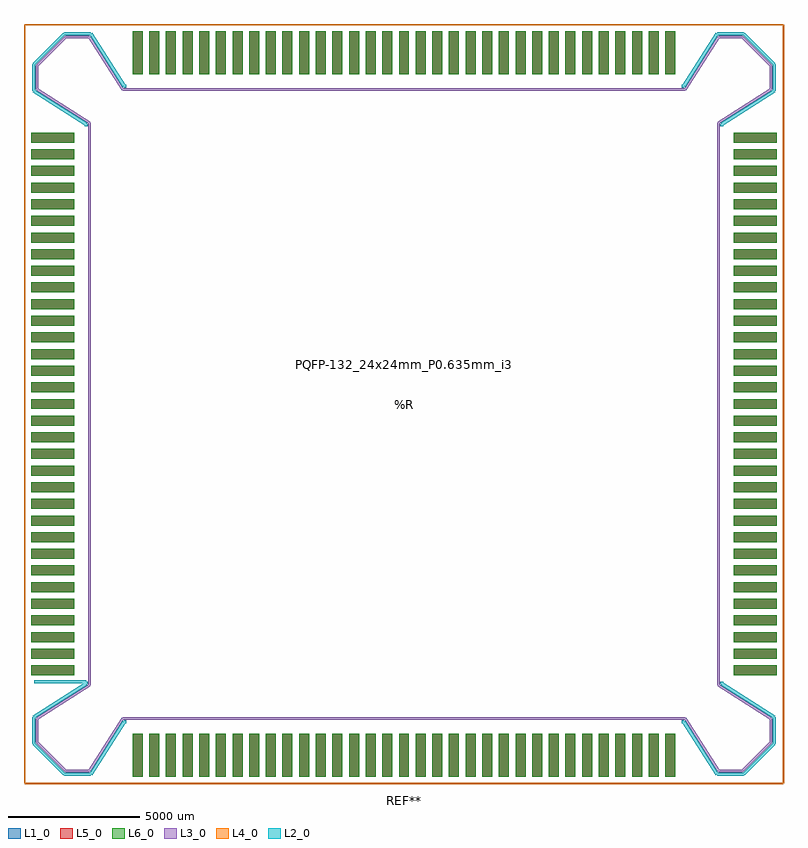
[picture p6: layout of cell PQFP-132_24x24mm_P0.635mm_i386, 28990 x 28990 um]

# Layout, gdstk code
import gdstk
lib = gdstk.Library(unit=1e-6, precision=1e-09)
def R(c, l, rs):  # rectangles x0, y0, x1, y1
    for r in rs: c.add(gdstk.rectangle(r[:2], r[2:], *l))
def A(c, l, x, y, w, h, nx, ny, dx, dy):  # array of equal rectangles
    R(c, l, [(x+i*dx, y+j*dy, x+i*dx+w, y+j*dy+h) for i in range(nx) for j in range(ny)])
L1_0 = (1, 0)
L2_0 = (2, 0)
L3_0 = (3, 0)
L4_0 = (4, 0)
L5_0 = (5, 0)
L6_0 = (6, 0)

pqfp_132_24x24mm_p0_635m = lib.new_cell('PQFP-132_24x24mm_P0.635mm_i386')
A(pqfp_132_24x24mm_p0_635m, L1_0, -10350, -14218, 380, 1636, 33, 2, 635, 26800)
A(pqfp_132_24x24mm_p0_635m, L1_0, -14218, -10350, 1636, 380, 1, 33, 0, 635)
A(pqfp_132_24x24mm_p0_635m, L1_0, 12582, -10350, 1636, 380, 1, 33, 0, 635)
A(pqfp_132_24x24mm_p0_635m, L5_0, -10350, -14218, 380, 1636, 33, 2, 635, 26800)
A(pqfp_132_24x24mm_p0_635m, L5_0, -14218, -10350, 1636, 380, 1, 33, 0, 635)
A(pqfp_132_24x24mm_p0_635m, L5_0, 12582, -10350, 1636, 380, 1, 33, 0, 635)
A(pqfp_132_24x24mm_p0_635m, L6_0, -10350, -14218, 380, 1636, 33, 2, 635, 26800)
A(pqfp_132_24x24mm_p0_635m, L6_0, -14218, -10350, 1636, 380, 1, 33, 0, 635)
A(pqfp_132_24x24mm_p0_635m, L6_0, 12582, -10350, 1636, 380, 1, 33, 0, 635)
pqfp_132_24x24mm_p0_635m.add(gdstk.FlexPath([(14000,-12000),(12000,-10730)], 100, ends="flush", simple_path=True, layer=3, datatype=0))  # L3_0
pqfp_132_24x24mm_p0_635m.add(gdstk.FlexPath([(12000,-14000),(10730,-12000)], 100, ends="flush", simple_path=True, layer=3, datatype=0))  # L3_0
pqfp_132_24x24mm_p0_635m.add(gdstk.FlexPath([(12900,-14000),(12000,-14000)], 100, ends="flush", simple_path=True, layer=3, datatype=0))  # L3_0
pqfp_132_24x24mm_p0_635m.add(gdstk.FlexPath([(14000,-12900),(12900,-14000)], 100, ends="flush", simple_path=True, layer=3, datatype=0))  # L3_0
pqfp_132_24x24mm_p0_635m.add(gdstk.FlexPath([(14000,-12000),(14000,-12900)], 100, ends="flush", simple_path=True, layer=3, datatype=0))  # L3_0
pqfp_132_24x24mm_p0_635m.add(gdstk.FlexPath([(12120,-10670),(12120,-10600)], 120, ends="flush", simple_path=True, layer=2, datatype=0))  # L2_0
pqfp_132_24x24mm_p0_635m.add(gdstk.FlexPath([(10600,-12120),(10670,-12120)], 120, ends="flush", simple_path=True, layer=2, datatype=0))  # L2_0
pqfp_132_24x24mm_p0_635m.add(gdstk.FlexPath([(-14470,-14470),(-14470,14470)], 50, ends="flush", simple_path=True, layer=4, datatype=0))  # L4_0
pqfp_132_24x24mm_p0_635m.add(gdstk.FlexPath([(14470,-14470),(-14470,-14470)], 50, ends="flush", simple_path=True, layer=4, datatype=0))  # L4_0
pqfp_132_24x24mm_p0_635m.add(gdstk.FlexPath([(-10730,-12000),(10730,-12000)], 100, ends="flush", simple_path=True, layer=3, datatype=0))  # L3_0
pqfp_132_24x24mm_p0_635m.add(gdstk.FlexPath([(12000,-10730),(12000,10730)], 100, ends="flush", simple_path=True, layer=3, datatype=0))  # L3_0
pqfp_132_24x24mm_p0_635m.add(gdstk.FlexPath([(10730,12000),(-10730,12000)], 100, ends="flush", simple_path=True, layer=3, datatype=0))  # L3_0
pqfp_132_24x24mm_p0_635m.add(gdstk.FlexPath([(-12000,10730),(-12000,-10730)], 100, ends="flush", simple_path=True, layer=3, datatype=0))  # L3_0
pqfp_132_24x24mm_p0_635m.add(gdstk.FlexPath([(14470,-14470),(14470,14470)], 50, ends="flush", simple_path=True, layer=4, datatype=0))  # L4_0
pqfp_132_24x24mm_p0_635m.add(gdstk.FlexPath([(14470,14470),(-14470,14470)], 50, ends="flush", simple_path=True, layer=4, datatype=0))  # L4_0
pqfp_132_24x24mm_p0_635m.add(gdstk.FlexPath([(-14100,-10600),(-12120,-10600)], 120, ends="flush", simple_path=True, layer=2, datatype=0))  # L2_0
pqfp_132_24x24mm_p0_635m.add(gdstk.FlexPath([(11940,-14120),(12960,-14120)], 120, ends="flush", simple_path=True, layer=2, datatype=0))  # L2_0
pqfp_132_24x24mm_p0_635m.add(gdstk.FlexPath([(14120,-11940),(14120,-12960)], 120, ends="flush", simple_path=True, layer=2, datatype=0))  # L2_0
pqfp_132_24x24mm_p0_635m.add(gdstk.FlexPath([(14120,-12960),(12960,-14120)], 120, ends="flush", simple_path=True, layer=2, datatype=0))  # L2_0
pqfp_132_24x24mm_p0_635m.add(gdstk.FlexPath([(14120,-11940),(12120,-10670)], 120, ends="flush", simple_path=True, layer=2, datatype=0))  # L2_0
pqfp_132_24x24mm_p0_635m.add(gdstk.FlexPath([(10670,-12120),(11940,-14120)], 120, ends="flush", simple_path=True, layer=2, datatype=0))  # L2_0
pqfp_132_24x24mm_p0_635m.add(gdstk.FlexPath([(-10670,-12120),(-11940,-14120)], 120, ends="flush", simple_path=True, layer=2, datatype=0))  # L2_0
pqfp_132_24x24mm_p0_635m.add(gdstk.FlexPath([(-14120,-11940),(-12120,-10670)], 120, ends="flush", simple_path=True, layer=2, datatype=0))  # L2_0
pqfp_132_24x24mm_p0_635m.add(gdstk.FlexPath([(-11940,-14120),(-12960,-14120)], 120, ends="flush", simple_path=True, layer=2, datatype=0))  # L2_0
pqfp_132_24x24mm_p0_635m.add(gdstk.FlexPath([(-14120,-12960),(-12960,-14120)], 120, ends="flush", simple_path=True, layer=2, datatype=0))  # L2_0
pqfp_132_24x24mm_p0_635m.add(gdstk.FlexPath([(-14120,-11940),(-14120,-12960)], 120, ends="flush", simple_path=True, layer=2, datatype=0))  # L2_0
pqfp_132_24x24mm_p0_635m.add(gdstk.FlexPath([(10600,12120),(10670,12120)], 120, ends="flush", simple_path=True, layer=2, datatype=0))  # L2_0
pqfp_132_24x24mm_p0_635m.add(gdstk.FlexPath([(-12120,-10670),(-12120,-10600)], 120, ends="flush", simple_path=True, layer=2, datatype=0))  # L2_0
pqfp_132_24x24mm_p0_635m.add(gdstk.FlexPath([(10670,12120),(11940,14120)], 120, ends="flush", simple_path=True, layer=2, datatype=0))  # L2_0
pqfp_132_24x24mm_p0_635m.add(gdstk.FlexPath([(-10600,-12120),(-10670,-12120)], 120, ends="flush", simple_path=True, layer=2, datatype=0))  # L2_0
pqfp_132_24x24mm_p0_635m.add(gdstk.FlexPath([(11940,14120),(12960,14120)], 120, ends="flush", simple_path=True, layer=2, datatype=0))  # L2_0
pqfp_132_24x24mm_p0_635m.add(gdstk.FlexPath([(14120,12960),(12960,14120)], 120, ends="flush", simple_path=True, layer=2, datatype=0))  # L2_0
pqfp_132_24x24mm_p0_635m.add(gdstk.FlexPath([(14120,11940),(14120,12960)], 120, ends="flush", simple_path=True, layer=2, datatype=0))  # L2_0
pqfp_132_24x24mm_p0_635m.add(gdstk.FlexPath([(14120,11940),(12120,10670)], 120, ends="flush", simple_path=True, layer=2, datatype=0))  # L2_0
pqfp_132_24x24mm_p0_635m.add(gdstk.FlexPath([(12120,10670),(12120,10600)], 120, ends="flush", simple_path=True, layer=2, datatype=0))  # L2_0
pqfp_132_24x24mm_p0_635m.add(gdstk.FlexPath([(-14120,11940),(-12120,10670)], 120, ends="flush", simple_path=True, layer=2, datatype=0))  # L2_0
pqfp_132_24x24mm_p0_635m.add(gdstk.FlexPath([(-12120,10670),(-12120,10600)], 120, ends="flush", simple_path=True, layer=2, datatype=0))  # L2_0
pqfp_132_24x24mm_p0_635m.add(gdstk.FlexPath([(-14120,11940),(-14120,12960)], 120, ends="flush", simple_path=True, layer=2, datatype=0))  # L2_0
pqfp_132_24x24mm_p0_635m.add(gdstk.FlexPath([(-14120,12960),(-12960,14120)], 120, ends="flush", simple_path=True, layer=2, datatype=0))  # L2_0
pqfp_132_24x24mm_p0_635m.add(gdstk.FlexPath([(-11940,14120),(-12960,14120)], 120, ends="flush", simple_path=True, layer=2, datatype=0))  # L2_0
pqfp_132_24x24mm_p0_635m.add(gdstk.FlexPath([(-10670,12120),(-11940,14120)], 120, ends="flush", simple_path=True, layer=2, datatype=0))  # L2_0
pqfp_132_24x24mm_p0_635m.add(gdstk.FlexPath([(-10600,12120),(-10670,12120)], 120, ends="flush", simple_path=True, layer=2, datatype=0))  # L2_0
pqfp_132_24x24mm_p0_635m.add(gdstk.FlexPath([(-12000,-14000),(-10730,-12000)], 100, ends="flush", simple_path=True, layer=3, datatype=0))  # L3_0
pqfp_132_24x24mm_p0_635m.add(gdstk.FlexPath([(-12900,-14000),(-12000,-14000)], 100, ends="flush", simple_path=True, layer=3, datatype=0))  # L3_0
pqfp_132_24x24mm_p0_635m.add(gdstk.FlexPath([(-14000,-12900),(-12900,-14000)], 100, ends="flush", simple_path=True, layer=3, datatype=0))  # L3_0
pqfp_132_24x24mm_p0_635m.add(gdstk.FlexPath([(-14000,-12000),(-14000,-12900)], 100, ends="flush", simple_path=True, layer=3, datatype=0))  # L3_0
pqfp_132_24x24mm_p0_635m.add(gdstk.FlexPath([(-14000,-12000),(-12000,-10730)], 100, ends="flush", simple_path=True, layer=3, datatype=0))  # L3_0
pqfp_132_24x24mm_p0_635m.add(gdstk.FlexPath([(12000,14000),(10730,12000)], 100, ends="flush", simple_path=True, layer=3, datatype=0))  # L3_0
pqfp_132_24x24mm_p0_635m.add(gdstk.FlexPath([(12900,14000),(12000,14000)], 100, ends="flush", simple_path=True, layer=3, datatype=0))  # L3_0
pqfp_132_24x24mm_p0_635m.add(gdstk.FlexPath([(14000,12900),(12900,14000)], 100, ends="flush", simple_path=True, layer=3, datatype=0))  # L3_0
pqfp_132_24x24mm_p0_635m.add(gdstk.FlexPath([(14000,12000),(14000,12900)], 100, ends="flush", simple_path=True, layer=3, datatype=0))  # L3_0
pqfp_132_24x24mm_p0_635m.add(gdstk.FlexPath([(14000,12000),(12000,10730)], 100, ends="flush", simple_path=True, layer=3, datatype=0))  # L3_0
pqfp_132_24x24mm_p0_635m.add(gdstk.FlexPath([(-14000,12000),(-12000,10730)], 100, ends="flush", simple_path=True, layer=3, datatype=0))  # L3_0
pqfp_132_24x24mm_p0_635m.add(gdstk.FlexPath([(-14000,12000),(-14000,12900)], 100, ends="flush", simple_path=True, layer=3, datatype=0))  # L3_0
pqfp_132_24x24mm_p0_635m.add(gdstk.FlexPath([(-14000,12900),(-12900,14000)], 100, ends="flush", simple_path=True, layer=3, datatype=0))  # L3_0
pqfp_132_24x24mm_p0_635m.add(gdstk.FlexPath([(-12900,14000),(-12000,14000)], 100, ends="flush", simple_path=True, layer=3, datatype=0))  # L3_0
pqfp_132_24x24mm_p0_635m.add(gdstk.FlexPath([(-12000,14000),(-10730,12000)], 100, ends="flush", simple_path=True, layer=3, datatype=0))  # L3_0
pqfp_132_24x24mm_p0_635m.add(gdstk.Label('REF**', (0,-15200), layer=2, texttype=0))
pqfp_132_24x24mm_p0_635m.add(gdstk.Label('PQFP-132_24x24mm_P0.635mm_i386', (0,1500), layer=3, texttype=0))
pqfp_132_24x24mm_p0_635m.add(gdstk.Label('%R', (0,0), layer=3, texttype=0))

lib.write_gds('PQFP-132_24x24mm_P0.635mm_i386.gds')
